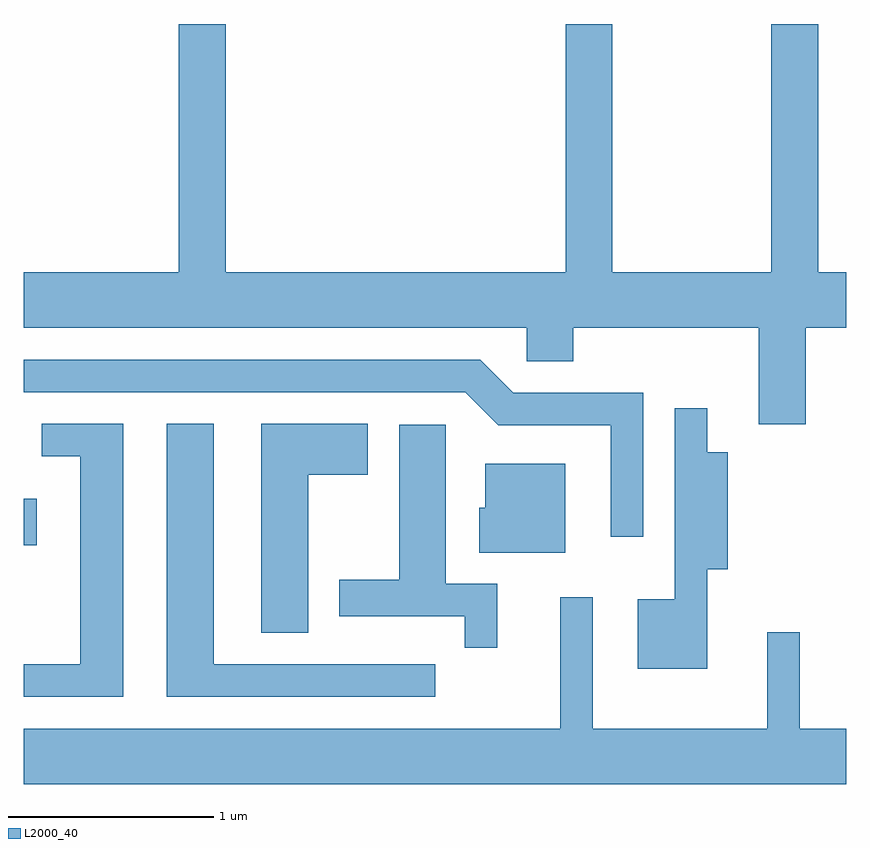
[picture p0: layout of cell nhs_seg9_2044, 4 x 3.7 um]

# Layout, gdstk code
import gdstk
lib = gdstk.Library(unit=1e-6, precision=1e-09)
def R(c, l, rs):  # rectangles x0, y0, x1, y1
    for r in rs: c.add(gdstk.rectangle(r[:2], r[2:], *l))
def P(c, l, *ps):  # polygons
    for p in ps: c.add(gdstk.Polygon(p, *l))
L2000_40 = (2000, 40)

nhs_seg9_2044 = lib.new_cell('nhs_seg9_2044')
R(nhs_seg9_2044, L2000_40, [(245.611,1961.896,245.674,1962.124)])
P(nhs_seg9_2044, L2000_40, [(249.246,1963.224),(248.474,1963.224),(248.474,1964.432),(248.246,1964.432),(248.246,1963.224),(246.594,1963.224),(246.594,1964.432),(246.366,1964.432),(246.366,1963.224),(245.611,1963.224),(245.611,1962.956),(248.056,1962.956),(248.056,1962.791),(248.284,1962.791),(248.284,1962.956),(249.186,1962.956),(249.186,1962.486),(249.414,1962.486),(249.414,1962.956),(249.611,1962.956),(249.611,1963.224),(249.474,1963.224),(249.474,1964.432),(249.246,1964.432)],
  [(248.624,1962.639),(247.992,1962.639),(247.832,1962.799),(245.611,1962.799),(245.611,1962.641),(247.759,1962.641),(247.919,1962.481),(248.466,1962.481),(248.466,1961.938),(248.624,1961.938)],
  [(248.934,1961.781),(249.034,1961.781),(249.034,1962.349),(248.934,1962.349),(248.934,1962.563),(248.776,1962.563),(248.776,1961.634),(248.596,1961.634),(248.596,1961.296),(248.934,1961.296)],
  [(246.094,1962.489),(245.698,1962.489),(245.698,1962.331),(245.886,1962.331),(245.886,1961.319),(245.611,1961.319),(245.611,1961.161),(246.094,1961.161)],
  [(247.613,1961.319),(246.534,1961.319),(246.534,1962.489),(246.306,1962.489),(246.306,1961.161),(247.613,1961.161)],
  [(246.994,1962.241),(247.284,1962.241),(247.284,1962.489),(246.766,1962.489),(246.766,1961.471),(246.994,1961.471)],
  [(247.914,1961.709),(247.664,1961.709),(247.664,1962.484),(247.436,1962.484),(247.436,1961.729),(247.146,1961.729),(247.146,1961.551),(247.756,1961.551),(247.756,1961.398),(247.914,1961.398)],
  [(248.244,1962.294),(247.856,1962.294),(247.856,1962.079),(247.826,1962.079),(247.826,1961.861),(248.244,1961.861)],
  [(249.611,1961.004),(249.384,1961.004),(249.384,1961.473),(249.226,1961.473),(249.226,1961.004),(248.379,1961.004),(248.379,1961.643),(248.221,1961.643),(248.221,1961.004),(245.611,1961.004),(245.611,1960.736),(249.611,1960.736)])

lib.write_gds('nhs_seg9_2044.gds')
